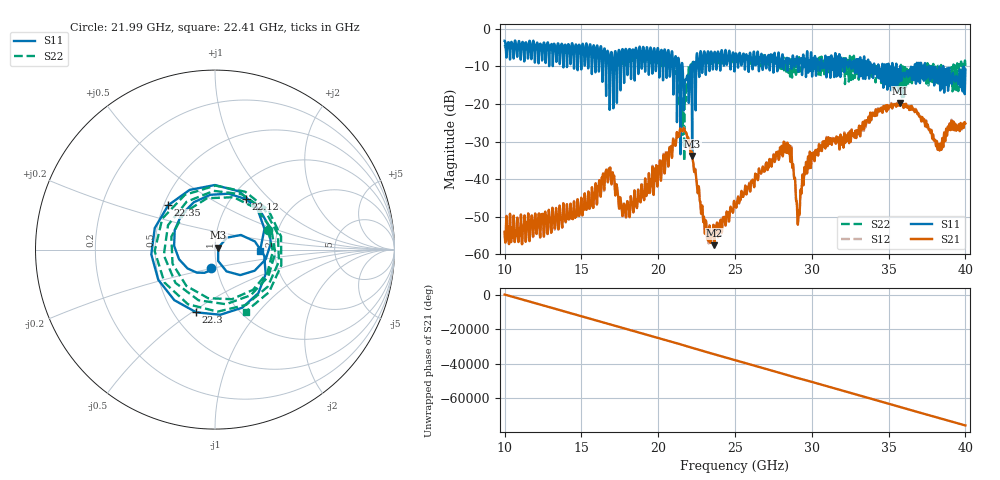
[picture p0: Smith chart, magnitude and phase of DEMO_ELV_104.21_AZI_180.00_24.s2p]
! 11/3/2026 12:58:03 PM
! C:\ANRITSUVNA\TEMP\TEMP.S2P
! CHANNEL.1
! TR.MEASUREMENT
! RAW.DATA
# HZ S RI R 50.0
! FREQ.HZ  S11RE  S11IM  S21RE  S21IM  S12RE  S12IM  S22RE  S22IM
!; PortSelection: Port_12
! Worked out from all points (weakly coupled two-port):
!   3001 points, 10 GHz to 40 GHz, reference 50 ohm
!   highest |S21| = -19.85 dB at 35.77 GHz (marker M1); lowest = -57.6 dB at 23.65 GHz (marker M2)
!   lowest |S11| = -33.8 dB at 22.21 GHz (marker M3), VSWR 1.04, Z = 51.8 + j1.02 ohm
!   |S11| at or under -10 dB: 35.76 GHz to 36.7 GHz (935.3 MHz wide, 2.58 % of centre); 37.64 GHz to 38.55 GHz (912.3 MHz wide, 2.39 % of centre); 38.56 GHz to end of sweep (the widest 3 of 113)
!   |S22| runs from -35.2 to -4.6 dB; largest |S21 - S12| = 0.12
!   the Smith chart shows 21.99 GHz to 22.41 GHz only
!   S11 on the Smith chart (normalised r, x): 21.99 GHz: 0.94, -0.19; 22.12 GHz: 1.17, +0.74; 22.3 GHz: 0.65, -0.52; 22.35 GHz: 0.53, +0.30; 22.41 GHz: 1.67, -0.02
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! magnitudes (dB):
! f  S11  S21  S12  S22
! 10 GHz  -3.2  -54.0  -54.0  -4.7
! 15 GHz  -10.0  -45.1  -45.1  -6.7
! 16.74 GHz  -6.2  -40.4  -40.4  -8.8
! 18.01 GHz  -11.9  -46.2  -46.2  -6.7
! 20 GHz  -5.5  -37.6  -37.8  -6.9
! 21.06 GHz  -8.3  -30.0  -30.0  -9.5
! 21.6 GHz  -10.8  -27.1  -26.9  -28.2
! 21.99 GHz  -19.7  -29.9  -29.9  -10.0
! 22.12 GHz  -9.6  -33.1  -33.1  -9.5
! 22.21 GHz  -33.8  -33.1  -33.3  -10.2
! 22.3 GHz  -8.8  -36.3  -36.3  -9.4
! 22.35 GHz  -8.9  -38.1  -38.3  -9.0
! 22.41 GHz  -12.0  -37.4  -37.2  -8.3
! 23.65 GHz  -6.4  -57.6  -57.6  -9.4
! 25 GHz  -7.6  -47.1  -47.2  -8.2
! 28.3 GHz  -8.3  -30.5  -30.3  -9.3
! 29.11 GHz  -11.2  -51.1  -50.9  -11.5
! 30 GHz  -10.5  -33.1  -33.1  -8.2
! 35 GHz  -9.5  -21.1  -21.0  -12.5
! 35.77 GHz  -10.3  -19.9  -19.7  -11.3
! 38.31 GHz  -10.3  -32.3  -32.1  -11.1
! 40 GHz  -10.8  -25.2  -25.2  -10.4
